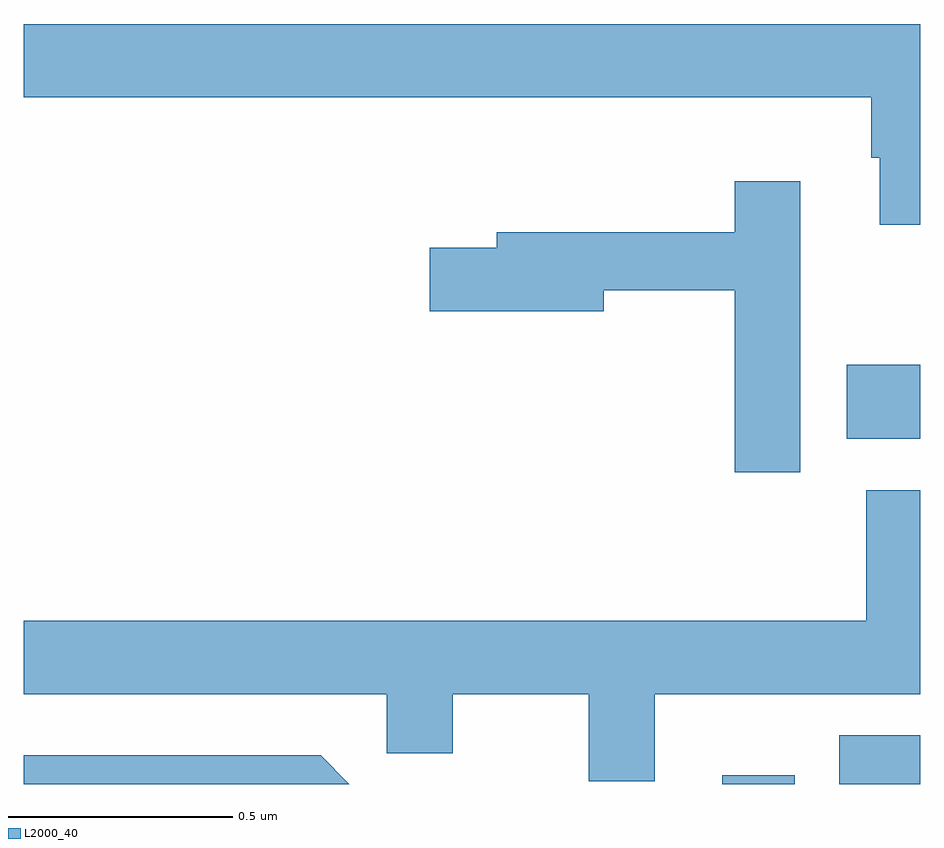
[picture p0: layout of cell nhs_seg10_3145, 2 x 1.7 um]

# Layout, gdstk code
import gdstk
lib = gdstk.Library(unit=1e-6, precision=1e-09)
def R(c, l, rs):  # rectangles x0, y0, x1, y1
    for r in rs: c.add(gdstk.rectangle(r[:2], r[2:], *l))
def P(c, l, *ps):  # polygons
    for p in ps: c.add(gdstk.Polygon(p, *l))
L2000_40 = (2000, 40)

nhs_seg10_3145 = lib.new_cell('nhs_seg10_3145')
R(nhs_seg10_3145, L2000_40, [(151.559,1249.5,151.72,1249.519), (151.82,1249.5,152,1249.609), (151.836,1250.27,152,1250.436)])
P(nhs_seg10_3145, L2000_40, [(152,1251.196),(150,1251.196),(150,1251.032),(151.891,1251.032),(151.891,1250.898),(151.91,1250.898),(151.91,1250.748),(152,1250.748)],
  [(151.732,1250.845),(151.586,1250.845),(151.586,1250.731),(151.055,1250.731),(151.055,1250.697),(150.906,1250.697),(150.906,1250.555),(151.294,1250.555),(151.294,1250.602),(151.586,1250.602),(151.586,1250.196),(151.732,1250.196)],
  [(151.408,1249.7),(152,1249.7),(152,1250.155),(151.88,1250.155),(151.88,1249.864),(150,1249.864),(150,1249.7),(150.81,1249.7),(150.81,1249.569),(150.957,1249.569),(150.957,1249.7),(151.261,1249.7),(151.261,1249.506),(151.408,1249.506)],
  [(150.662,1249.564),(150,1249.564),(150,1249.5),(150.726,1249.5)])

lib.write_gds('nhs_seg10_3145.gds')
